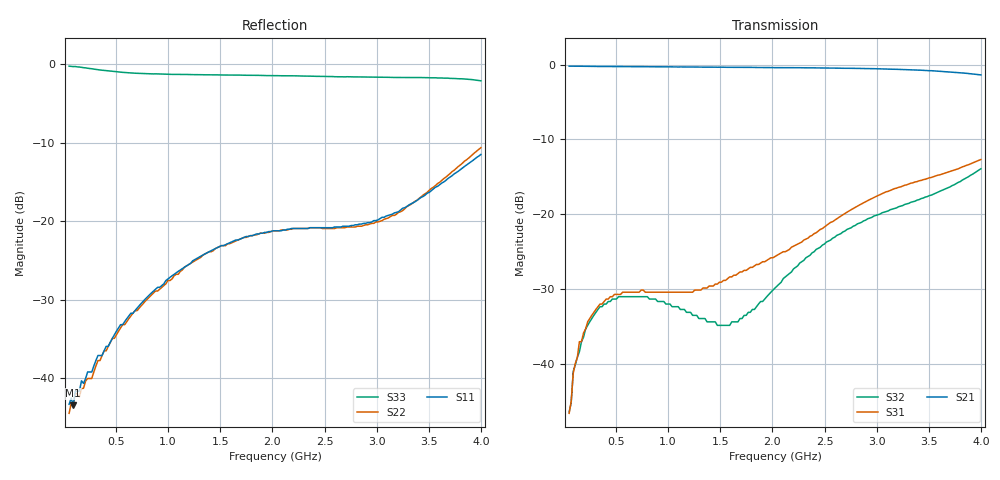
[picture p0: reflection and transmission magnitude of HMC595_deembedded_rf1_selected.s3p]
!Hittite Microwave Corporation
!20 Alpha Road
!Chelmsford, MA 01824
!Tel: 978-250-3343
!Fax: 978-250-3373
!Device: HMC595, DC-3 GHz, GaAs T/R Switch in SOT26 SMT package
!Misc: Vctl = 5V, Port1 = RFC, Port2 = RF1, Port3 = RF2, RF1 ON, Room
# MHZ S MA R 50
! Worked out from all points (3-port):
!   201 points, 50 MHz to 4 GHz, reference 50 ohm
!   strongest paths, dB at 50 MHz, 1.038 GHz, 2.025 GHz, 3.013 GHz, 4 GHz:
!     S21: -0.2, -0.3, -0.4, -0.6, -1.4
!     S31: -46.7, -30.5, -25.7, -17.5, -12.7
!     S32: -46.5, -32.4, -29.9, -20.1, -13.9
!   lowest |S11| = -43.4 dB at 89.5 MHz (marker M1), VSWR 1.01, Z = 50.6 - j0.22 ohm
!   |S11| at or under -10 dB: start of sweep to end of sweep
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50  0.006843 -3.9  0.978 -3.2  0.00462 76.5
    0.977 -3.2  0.006003 1.3  0.004719 73.9
    0.004642 76.7  0.004724 73.7  0.97 -17.0
89.5  0.006761 -18.7  0.976 -5.6  0.008554 79.0
      0.976 -5.6  0.006648 -13.9  0.008879 74.0
      0.008594 79.2  0.008869 74.0  0.964 -30.3
306.75  0.013 -68.7  0.974 -18.6  0.023 43.9
        0.973 -18.6  0.012 -59.8  0.022 27.4
        0.023 43.9  0.022 27.4  0.925 -93.9
504.25  0.02 -98.9  0.972 -30.3  0.029 23.8
        0.972 -30.3  0.019 -84.1  0.027 -4.3
        0.029 23.8  0.027 -4.2  0.894 -136.4
741.25  0.03 -125.1  0.97 -44.4  0.031 9.5
        0.97 -44.4  0.029 -107.5  0.028 -36.9
        0.031 9.6  0.028 -36.9  0.873 -174.1
1373.25  0.063 -178.4  0.963 -82.0  0.032 2.5
         0.962 -81.9  0.063 -151.0  0.019 -128.5
         0.032 2.6  0.019 -128.4  0.855 116.1
2025  0.087 137.1  0.955 -121.1  0.052 -5.3
      0.955 -121.1  0.087 170.1  0.032 104.0
      0.052 -5.3  0.032 104.0  0.844 59.0
2874.25  0.097 87.4  0.942 -173.8  0.119 -37.9
         0.942 -173.7  0.094 111.1  0.09 4.5
         0.119 -37.8  0.09 4.5  0.828 -11.1
3486.5  0.151 51.0  0.913 146.0  0.173 -78.0
        0.913 146.1  0.153 50.6  0.131 -45.5
        0.173 -77.9  0.131 -45.4  0.82 -57.3
4000  0.266 14.1  0.854 110.4  0.232 -109.7
      0.854 110.4  0.294 10.4  0.201 -81.2
      0.232 -109.7  0.201 -81.1  0.783 -92.6
